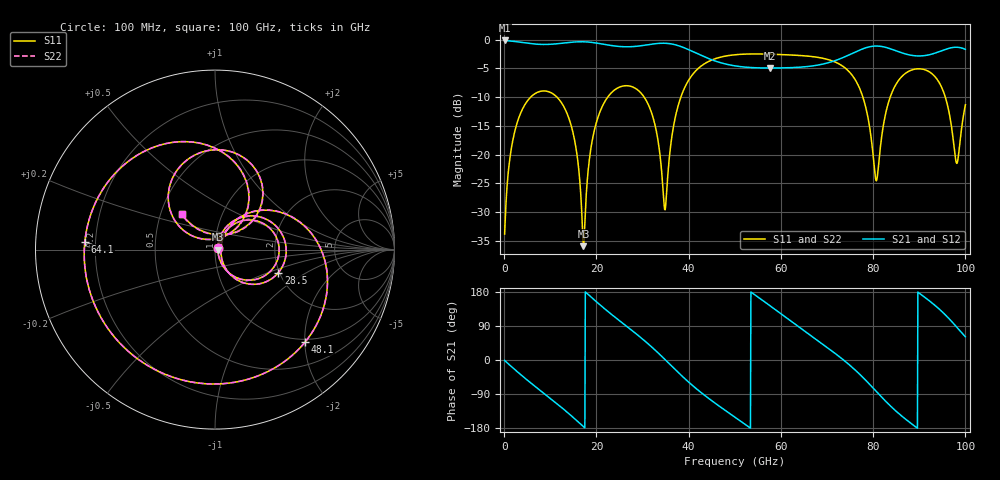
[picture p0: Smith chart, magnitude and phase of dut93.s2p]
! Touchstone file exported from HFSS 2026.1.0
!  File:  C:/ffzhzh/LocalFiles/Ansys_Project_Files/temp_train_TSV_RDL_93_1783631610_33328.aedt
!  Generated:  05:21:03 AM Jul 10, 2026
!  Design:  TSV_RDL
!  Project:  temp_train_TSV_RDL_93_1783631610_33328
! Variables:
!  h_bsmrdl = 2.24um
!  h_ox = 20um
!  h_rdl = 5um
!  h_sub = 78.3um
!  h_tmrdl = 4.22um
!  h_tsv = 78.3um
!  h_via = 3um
!  l_bsmrdl = 685.44um
!  l_sub = 3182.24um
!  l_tmrdl = 150.58um
!  m_sub = 200um
!  pitch = 40.83um
!  r_tsv = 13.89um
!  s_tmrdl = 10um
!  w_bsmrdl = 21.26um
!  w_sub = 500um
!  w_tmrdl = 19.94um
!  x_tsv_center1 = 160.55um
!  x_tsv_center2 = 867.25um
!  x_tsv_center3 = 1037.77um
!  x_tsv_center4 = 1744.47um
!  x_tsv_center5 = 1914.99um
!  x_tsv_center6 = 2621.69um
# GHz S MA R 50.000000
! Terminal data exported
! Port[1] = TM_RDL1_1_T1
! Port[2] = TM_RDL5_1_T1
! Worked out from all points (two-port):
!   1000 points, 100 MHz to 100 GHz, reference 50 ohm
!   highest |S21| = -0.16 dB at 100 MHz (marker M1); lowest = -5.0 dB at 57.7 GHz (marker M2)
!   |S21| within 3 dB of the highest: start of sweep to 43.87 GHz; 73.39 GHz to end of sweep
!   lowest |S11| = -35.9 dB at 17.2 GHz (marker M3), VSWR 1.03, Z = 51.6 - j0.0312 ohm
!   |S11| at or under -10 dB: 11.44 GHz to 22.46 GHz (11.02 GHz wide, 65 % of centre); 30.35 GHz to 38.31 GHz (7.965 GHz wide, 23.2 % of centre); 77.77 GHz to 83.7 GHz (5.93 GHz wide, 7.34 % of centre) (the widest 3 of 5)
!   |S22| runs from -36.2 to -2.5 dB; largest |S21 - S12| = 2.2e-14
!   S11 on the Smith chart (normalised r, x): 100 MHz: 1.04, +0.02; 28.5 GHz: 1.97, -0.59; 48.1 GHz: 0.93, -2.00; 64.1 GHz: 0.16, +0.03; 100 GHz: 0.64, +0.28
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0.1  0.02041 23.1  0.9814 -1.2  0.9814 -1.2  0.02041 23.1
! Gamma 0 0 0 0
! Port Impedance 50 0 50 0
2.7  0.1824 52.5  0.9573 -29.3  0.9573 -29.3  0.1824 52.5
8.3  0.357 2.1  0.9065 -84.9  0.9065 -84.9  0.3571 2.1
14.2  0.1979 -52.2  0.9441 -143.4  0.9441 -143.4  0.1979 -52.4
16.8  0.03317 -55.4  0.9564 -171.5  0.9564 -171.5  0.03298 -56.3
17.2  0.01603 -1.1  0.9558 -175.9  0.9558 -175.9  0.01549 -1.4
20.7  0.2314 50.8  0.9222 146.4  0.9222 146.4  0.2313 50.9
28.5  0.3756 -20.0  0.8717 70.3  0.8717 70.3  0.3756 -20.0
33.4  0.1295 -60.1  0.9249 18.6  0.9249 18.6  0.1293 -60.6
34.9  0.03315 4.5  0.928 1.0  0.928 1.0  0.0316 4.7
40.1  0.4497 25.3  0.8127 -59.4  0.8127 -59.4  0.4495 25.6
48.1  0.7194 -45.9  0.6115 -134.4  0.6115 -134.4  0.7194 -45.7
50.1  0.7375 -62.4  0.5898 -151.5  0.5898 -151.5  0.7374 -62.3
57.7  0.7455 -127.0  0.5655 142.6  0.5655 142.6  0.7455 -126.9
64.1  0.7266 176.7  0.5749 85.7  0.5749 85.7  0.7266 176.6
66.7  0.7117 154.0  0.5885 62.7  0.5885 62.7  0.7116 153.9
76.1  0.4481 69.6  0.7776 -26.4  0.7776 -26.4  0.4479 69.3
80.7  0.05928 98.7  0.8779 -83.2  0.8779 -83.2  0.05803 98.8
83.4  0.2906 142.8  0.8392 -117.2  0.8392 -117.2  0.2905 142.9
92.7  0.5066 64.6  0.7464 151.2  0.7464 151.2  0.5064 64.3
98.1  0.08393 82.2  0.8571 87.1  0.8571 87.1  0.08147 82.1
100  0.2712 133.0  0.8213 61.2  0.8213 61.2  0.2707 133.4
